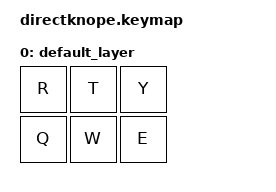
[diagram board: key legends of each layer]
#include <behaviors.dtsi>
#include <dt-bindings/zmk/keys.h>
#include <dt-bindings/zmk/bt.h>

/ {  
    keymap {
        compatible = "zmk,keymap";

       default_layer {
            bindings = <
                &kp R       &kp T       &kp Y
                &kp Q       &kp W       &kp E          
            >;

       };
    };
};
